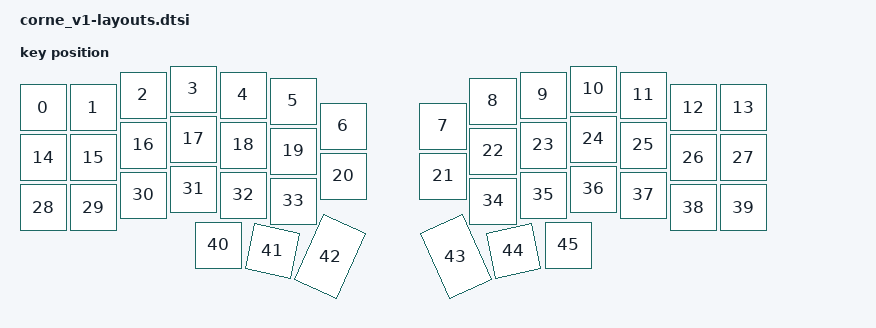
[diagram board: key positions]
#include <physical_layouts.dtsi>

/ {
    corne_v1_position_map {
        compatible = "zmk,physical-layout-position-map";
        complete;

        default_map: six_col {
            physical-layout = <&default_layout>;
            positions
                = < 0  1  2  3  4  5  6  7  8  9 10 11 12 13>
                , <14 15 16 17 18 19 20 21 22 23 24 25 26 27>
                , <28 29 30 31 32 33       34 35 36 37 38 39>
                , <         40 41 42       43 44 45         >;
        };

    };
};

/ {
    default_layout: default_layout {
        compatible = "zmk,physical-layout";
        display-name = "Default Layout";
        keys  //                     w   h    x    y     rot    rx    ry
            = <&key_physical_attrs 100 100    0   37       0     0     0>
            , <&key_physical_attrs 100 100  100   37       0     0     0>
            , <&key_physical_attrs 100 100  200   12       0     0     0>
            , <&key_physical_attrs 100 100  300    0       0     0     0>
            , <&key_physical_attrs 100 100  400   12       0     0     0>
            , <&key_physical_attrs 100 100  500   24       0     0     0>
            , <&key_physical_attrs 100 100  600   74       0     0     0>
            , <&key_physical_attrs 100 100  800   74       0     0     0>
            , <&key_physical_attrs 100 100  900   24       0     0     0>
            , <&key_physical_attrs 100 100 1000   12       0     0     0>
            , <&key_physical_attrs 100 100 1100    0       0     0     0>
            , <&key_physical_attrs 100 100 1200   12       0     0     0>
            , <&key_physical_attrs 100 100 1300   37       0     0     0>
            , <&key_physical_attrs 100 100 1400   37       0     0     0>
            , <&key_physical_attrs 100 100    0  137       0     0     0>
            , <&key_physical_attrs 100 100  100  137       0     0     0>
            , <&key_physical_attrs 100 100  200  112       0     0     0>
            , <&key_physical_attrs 100 100  300  100       0     0     0>
            , <&key_physical_attrs 100 100  400  112       0     0     0>
            , <&key_physical_attrs 100 100  500  124       0     0     0>
            , <&key_physical_attrs 100 100  600  174       0     0     0>
            , <&key_physical_attrs 100 100  800  174       0     0     0>
            , <&key_physical_attrs 100 100  900  124       0     0     0>
            , <&key_physical_attrs 100 100 1000  112       0     0     0>
            , <&key_physical_attrs 100 100 1100  100       0     0     0>
            , <&key_physical_attrs 100 100 1200  112       0     0     0>
            , <&key_physical_attrs 100 100 1300  137       0     0     0>
            , <&key_physical_attrs 100 100 1400  137       0     0     0>
            , <&key_physical_attrs 100 100    0  237       0     0     0>
            , <&key_physical_attrs 100 100  100  237       0     0     0>
            , <&key_physical_attrs 100 100  200  212       0     0     0>
            , <&key_physical_attrs 100 100  300  200       0     0     0>
            , <&key_physical_attrs 100 100  400  212       0     0     0>
            , <&key_physical_attrs 100 100  500  224       0     0     0>
            , <&key_physical_attrs 100 100  900  224       0     0     0>
            , <&key_physical_attrs 100 100 1000  212       0     0     0>
            , <&key_physical_attrs 100 100 1100  200       0     0     0>
            , <&key_physical_attrs 100 100 1200  212       0     0     0>
            , <&key_physical_attrs 100 100 1300  237       0     0     0>
            , <&key_physical_attrs 100 100 1400  237       0     0     0>
            , <&key_physical_attrs 100 100  350  312       0     0     0>
            , <&key_physical_attrs 100 100  450  312    1200   450   412>
            , <&key_physical_attrs 100 150  548  283    2400   548   433>
            , <&key_physical_attrs 100 150  852  283 (-2400)   952   433>
            , <&key_physical_attrs 100 100  950  312 (-1200)  1050   412>
            , <&key_physical_attrs 100 100 1050  312       0     0     0>
            ;
    };

};
